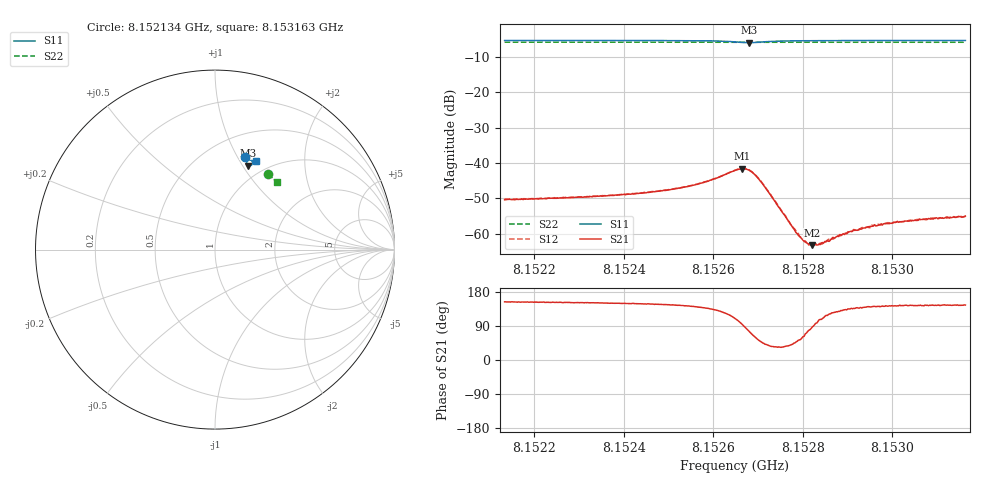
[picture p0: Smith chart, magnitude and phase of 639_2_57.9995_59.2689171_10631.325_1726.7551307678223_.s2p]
#  HZ  S  RI  R  50.00
! Rohde & Schwarz Vector Network Analyzer
! Rohde-Schwarz,ZNB20-2Port,1311601062101988,3.16
! Created: UTC 3/21/2024, 1:18:58 AM
! freq[Hz]  re:S11  im:S11  re:S21  im:S21  re:S12  im:S12  re:S22  im:S22
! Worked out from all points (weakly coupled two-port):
!   401 points, 8.152134 GHz to 8.153163 GHz, reference 50 ohm
!   highest |S21| = -41.61 dB at 8.152664 GHz (marker M1); lowest = -63.2 dB at 8.152821 GHz (marker M2)
!   lowest |S11| = -6.0 dB at 8.152679 GHz (marker M3), VSWR 3.03, Z = 42.4 + j53.1 ohm
!   |S11| at or under -10 dB: nowhere
!   |S22| runs from -5.9 to -5.8 dB; largest |S21 - S12| = 0.00015
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8.1521336e9  0.1663 0.5143  -0.0027 0.00134  -0.00271 0.00141  0.2935 0.4195
8.152306e9  0.179 0.5101  -0.00289 0.00157  -0.00287 0.00164  0.3023 0.4127
8.1524784e9  0.1931 0.5041  -0.00332 0.00218  -0.00335 0.00224  0.3111 0.406
8.1525685e9  0.2028 0.4974  -0.00388 0.00332  -0.00386 0.00338  0.3155 0.4021
8.1526071e9  0.2074 0.4905  -0.00404 0.00457  -0.00401 0.00467  0.3175 0.4003
8.1526482e9  0.2062 0.4745  -0.00264 0.00738  -0.00261 0.00747  0.3191 0.3982
8.1526637e9  0.1985 0.4679  -0.000692 0.00828  -0.000657 0.00837  0.3193 0.3976
8.1526791e9  0.1866 0.4678  0.00186 0.00773  0.00194 0.00778  0.3197 0.3971
8.152692e9  0.1786 0.4742  0.00329 0.00607  0.0034 0.00609  0.3202 0.3969
8.1527074e9  0.176 0.484  0.00359 0.00391  0.0037 0.00394  0.321 0.3968
8.1527717e9  0.1897 0.4997  0.00107 0.000882  0.00106 0.000858  0.3246 0.3945
8.1527897e9  0.1929 0.5005  0.000579 0.000747  0.00063 0.000781  0.3256 0.3937
8.1528077e9  0.1958 0.5006  0.000243 0.00071  0.000272 0.00069  0.3266 0.393
8.1528206e9  0.1976 0.5005  3.6e-05 0.000687  6.74e-05 0.000693  0.3272 0.3925
8.1528335e9  0.1992 0.5004  -0.000139 0.000679  -0.000115 0.000685  0.3279 0.3919
8.1528463e9  0.2008 0.5001  -0.000272 0.000684  -0.000282 0.000699  0.3284 0.3914
8.1528849e9  0.205 0.4995  -0.000627 0.000727  -0.000594 0.000724  0.3305 0.3898
8.1529158e9  0.208 0.4986  -0.0008 0.00077  -0.000816 0.000777  0.3318 0.3884
8.1529467e9  0.2107 0.4979  -0.000971 0.000793  -0.000907 0.000819  0.3333 0.387
8.152993e9  0.2144 0.4966  -0.00111 0.000834  -0.00111 0.000887  0.3357 0.385
8.1530856e9  0.2216 0.4941  -0.0013 0.000936  -0.00134 0.000975  0.34 0.381
8.1531628e9  0.227 0.4918  -0.00145 0.00102  -0.00142 0.00101  0.3436 0.3777
